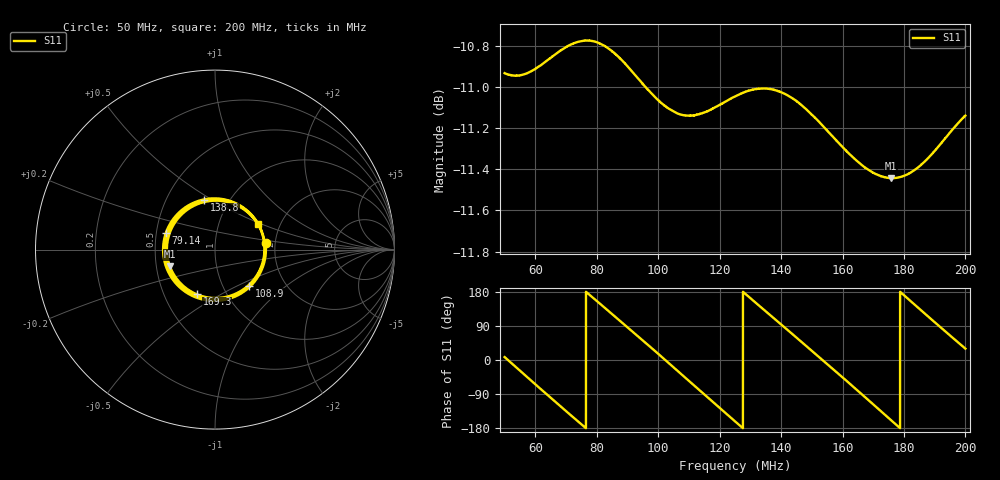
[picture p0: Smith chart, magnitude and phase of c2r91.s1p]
! COPPER MOUNTAIN TECHNOLOGIES, PLANAR TR1300/1, 00071119, 20.2.2/1.0
! Date: 1/7/2024 7:33:11 PM
! Data: Format [Calibration Info]
! Freq  S11: Re/Im F1
# HZ S RI R 50
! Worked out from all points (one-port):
!   12288 points, 50 MHz to 200 MHz, reference 50 ohm
!   lowest |S11| = -11.4 dB at 175.9 MHz (marker M1), VSWR 1.73, Z = 29.5 - j5.94 ohm
!   |S11| at or under -10 dB: start of sweep to end of sweep
!   S11 on the Smith chart (normalised r, x): 50 MHz: 1.78, +0.15; 79.14 MHz: 0.56, +0.11; 108.9 MHz: 1.32, -0.58; 138.8 MHz: 0.77, +0.46; 169.3 MHz: 0.73, -0.39; 200 MHz: 1.55, +0.47
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5e7  0.2814 0.0383
5.491983e7  0.2513 -0.1316
6.042565e7  0.1105 -0.2625
6.453976e7  -0.0324 -0.2845
6.875153e7  -0.17 -0.2322
7.409864e7  -0.2772 -0.0821
7.914056e7  -0.2744 0.0911
8.750305e7  -0.069 0.278
9.256938e7  0.103 0.2644
9.812403e7  0.2438 0.139
1.062546e8  0.2446 -0.1314
1.088549e8  0.1896 -0.2025
1.165948e8  -0.0593 -0.2718
1.250061e8  -0.2664 -0.0872
1.313421e8  -0.2527 0.1241
1.38789e8  -0.0597 0.2748
1.437576e8  0.1053 0.2595
1.487751e8  0.2329 0.1519
1.531944e8  0.2757 0.0109
1.575893e8  0.2403 -0.1312
1.625092e8  0.121 -0.2429
1.692968e8  -0.101 -0.2491
1.759014e8  -0.2509 -0.0935
1.812607e8  -0.2552 0.0832
1.863392e8  -0.1575 0.2195
1.907219e8  -0.0221 0.2714
1.949825e8  0.117 0.2486
2e8  0.2401 0.1388
